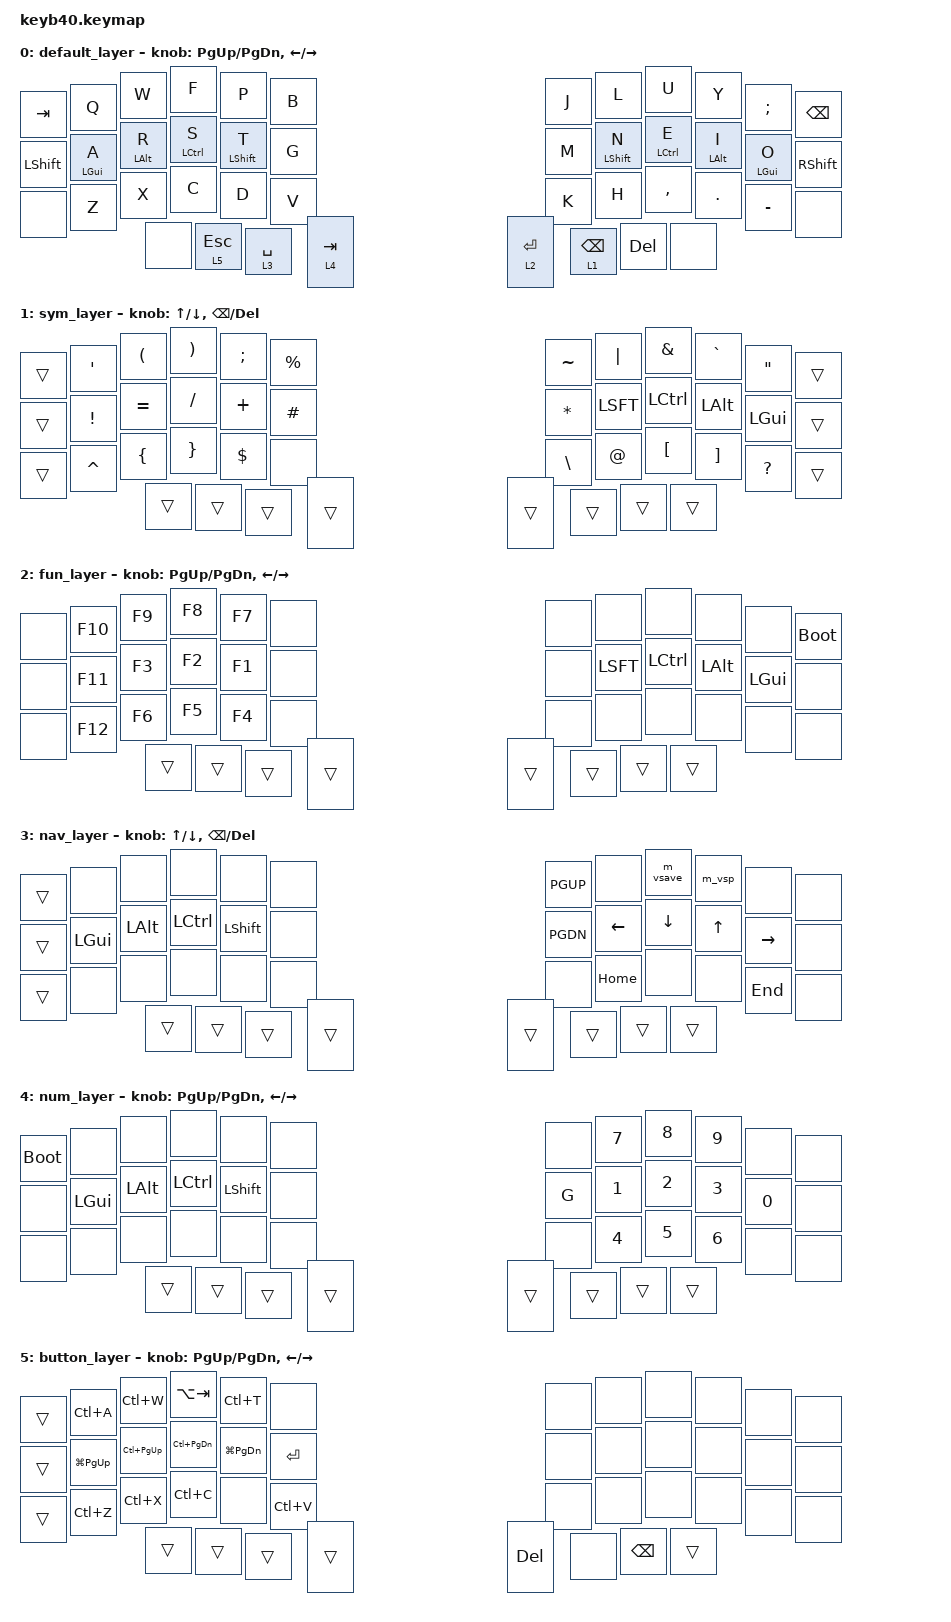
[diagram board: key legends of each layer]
/*
 * Copyright (c) 2022 The ZMK Contributors
 *
 * SPDX-License-Identifier: MIT
 */

#include <behaviors.dtsi>
#include <dt-bindings/zmk/keys.h>
#include <dt-bindings/zmk/bt.h>
#include <dt-bindings/zmk/outputs.h>

/ {
    behaviors {
        hml: home_row_mod_left {
            compatible = "zmk,behavior-hold-tap";
            #binding-cells = <2>;
            flavor = "balanced";
            require-prior-idle-ms = <125>;
            tapping-term-ms = <250>;
            quick-tap-ms = <175>;
            bindings = <&kp>, <&kp>;
            hold-trigger-key-positions =
              <  6  7  8  9 10 11
                18 19 20 21 22 23
                30 31 32 33 34 35
                36 37 38 39
                40 41 42 43>;
            hold-trigger-on-release;
        };
        hmr: home_row_mod_right {
            compatible = "zmk,behavior-hold-tap";
            #binding-cells = <2>;
            flavor = "balanced";
            require-prior-idle-ms = <125>;
            tapping-term-ms = <250>;
            quick-tap-ms = <175>;
            bindings = <&kp>, <&kp>;
            hold-trigger-key-positions =
              <  0  1  2  3  4  5
                12 13 14 15 16 17
                24 25 26 27 28 29
                36 37 38 39
                40 41 42 43>;
            hold-trigger-on-release;
        };
    };

    combos {
        compatible = "zmk,combos";
        caps_word_combo {
            timeout-ms = <50>;
            key-positions = <13 22>; // HRM_A, HRM_O
            bindings = <&caps_word>;
        };
    };

    macros {
      ZMK_MACRO(m_vsave,
          wait-ms = <30>;
          tap-ms = <40>;
          bindings = <&kp COLON &kp W &kp ENTER>;
      )
      ZMK_MACRO(m_vsp,
          wait-ms = <30>;
          tap-ms = <40>;
          bindings = <&kp COLON &kp V &kp S &kp P &kp ENTER>;
      )
    };

    keymap {
        compatible = "zmk,keymap";

        default_layer { // BASE
            bindings = <
&kp TAB         &kp Q           &kp W           &kp F           &kp P           &kp B           &kp J           &kp L           &kp U           &kp Y           &kp SEMI        &kp BSPC
&kp LSHFT       &hml LGUI A     &hml LALT R     &hml LCTRL S    &hml LSHFT T    &kp G           &kp M           &hmr LSHFT N    &hmr LCTRL E    &hmr LALT I     &hmr LGUI O     &kp RSHFT
&none           &kp Z           &kp X           &kp C           &kp D           &kp V           &kp K           &kp H           &kp COMMA       &kp DOT         &kp MINUS       &none
                                &none           &lt 5 ESC       &lt 3 SPACE     &lt 4 TAB       &lt 2 RET       &lt 1 BSPC      &kp DEL         &none
            >;

            sensor-bindings = <&inc_dec_kp PG_UP PG_DN &inc_dec_kp LEFT RIGHT>;
        };

        sym_layer { // U_SYM
            bindings = <
&trans          &kp SQT         &kp LPAR        &kp RPAR        &kp SEMI        &kp PRCNT       &kp TILDE       &kp PIPE        &kp AMPS        &kp GRAVE       &kp DQT         &trans
&trans          &kp EXCL        &kp EQUAL       &kp SLASH       &kp PLUS        &kp HASH        &kp ASTRK       &kp LSFT        &kp LCTRL       &kp LALT        &kp LGUI        &trans
&trans          &kp CARET       &kp LBRC        &kp RBRC        &kp DLLR        &none           &kp BSLH        &kp AT          &kp LBKT        &kp RBKT        &kp QMARK       &trans
                                &trans          &trans          &trans          &trans          &trans          &trans          &trans          &trans
            >;

            sensor-bindings = <&inc_dec_kp UP DOWN &inc_dec_kp BSPC DEL>;
        };

        fun_layer { // U_FUN
            bindings = <
&none           &kp F10         &kp F9          &kp F8          &kp F7          &none           &none           &none           &none           &none           &none           &bootloader
&none           &kp F11         &kp F3          &kp F2          &kp F1          &none           &none           &kp LSFT        &kp LCTRL       &kp LALT        &kp LGUI        &none
&none           &kp F12         &kp F6          &kp F5          &kp F4          &none           &none           &none           &none           &none           &none           &none
                                &trans          &trans          &trans          &trans          &trans          &trans          &trans          &trans
            >;

            sensor-bindings = <&inc_dec_kp PG_UP PG_DN &inc_dec_kp LEFT RIGHT>;
        };

        nav_layer { // U_NAV
            bindings = <
&trans          &none           &none           &none           &none           &none           &kp PGUP        &none           &m_vsave        &m_vsp          &none           &none
&trans          &kp LGUI        &kp LALT        &kp LCTRL       &kp LSHFT       &none           &kp PGDN        &kp LEFT        &kp DOWN        &kp UP          &kp RIGHT       &none
&trans          &none           &none           &none           &none           &none           &none           &kp HOME        &none           &none           &kp END         &none
                                &trans          &trans          &trans          &trans          &trans          &trans          &trans          &trans
            >;

            sensor-bindings = <&inc_dec_kp UP DOWN &inc_dec_kp BSPC DEL>;
        };

        num_layer { // U_NUM
            bindings = <
&bootloader &none         &none           &none           &none           &none           &none           &kp N7          &kp N8          &kp N9          &none           &none
&none     &kp LGUI        &kp LALT        &kp LCTRL       &kp LSHFT       &none           &kp G           &kp N1          &kp N2          &kp N3          &kp N0          &none
&none           &none           &none           &none           &none           &none           &none           &kp N4          &kp N5          &kp N6          &none           &none
                                &trans          &trans          &trans          &trans          &trans          &trans          &trans          &trans
            >;

            sensor-bindings = <&inc_dec_kp PG_UP PG_DN &inc_dec_kp LEFT RIGHT>;
        };

        button_layer { // U_BUTTON
            bindings = <
&trans         &kp LC(A)        &kp LC(W)       &kp LA(TAB)     &kp LC(T)       &none           &none           &none           &none           &none           &none           &none
&trans         &kp LG(PG_UP)    &kp LC(PG_UP)   &kp LC(PG_DN)   &kp LG(PG_DN)   &kp RET         &none           &none           &none           &none           &none           &none
&trans         &kp LC(Z)        &kp LC(X)       &kp LC(C)       &none           &kp LC(V)       &none           &none           &none           &none           &none           &none
                                &trans          &trans          &trans          &trans          &kp DEL         &none           &kp BSPC        &trans
            >;

            sensor-bindings = <&inc_dec_kp PG_UP PG_DN &inc_dec_kp LEFT RIGHT>;
        };
    };

    sensors {
        compatible = "zmk,keymap-sensors";
        sensors = <&left_encoder &right_encoder>;
        triggers-per-rotation = <20>;
    };

    /delete-node/ sensor-bindings;

    left_encoder_bindings: left_encoder_bindings {
        compatible = "zmk,sensor-bindings";
        sensor = <&left_encoder>;
        bindings = <&kp PG_UP &kp PG_DN>;
    };

    right_encoder_bindings: right_encoder_bindings {
        compatible = "zmk,sensor-bindings";
        sensor = <&right_encoder>;
        bindings = <&kp LEFT &kp RIGHT>;
    };
};
